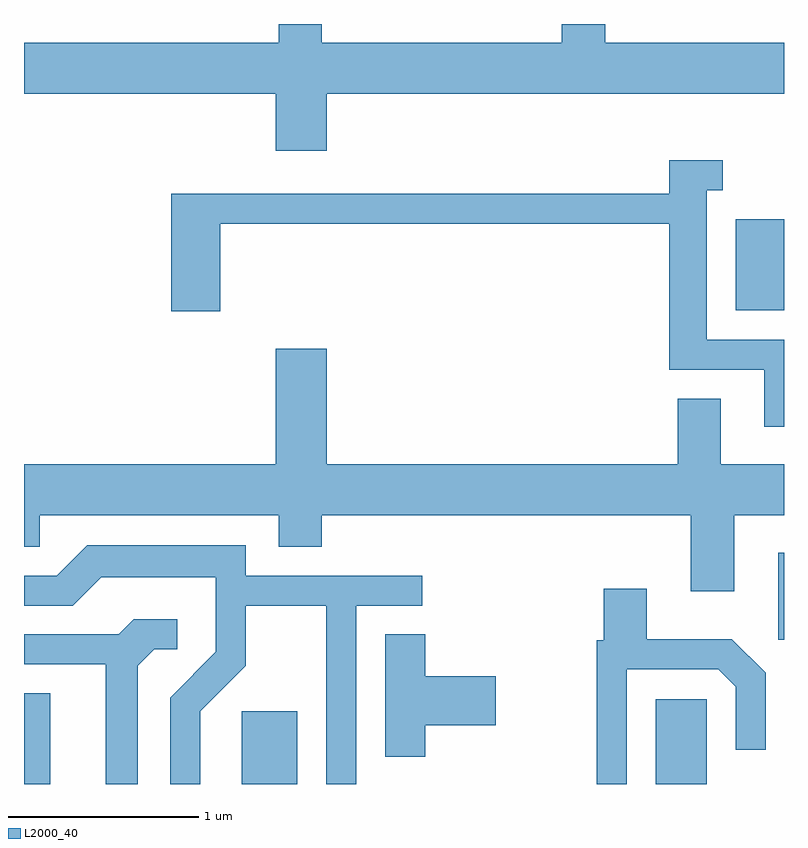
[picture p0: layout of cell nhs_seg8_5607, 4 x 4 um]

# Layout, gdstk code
import gdstk
lib = gdstk.Library(unit=1e-6, precision=1e-09)
def R(c, l, rs):  # rectangles x0, y0, x1, y1
    for r in rs: c.add(gdstk.rectangle(r[:2], r[2:], *l))
def P(c, l, *ps):  # polygons
    for p in ps: c.add(gdstk.Polygon(p, *l))
L2000_40 = (2000, 40)

nhs_seg8_5607 = lib.new_cell('nhs_seg8_5607')
R(nhs_seg8_5607, L2000_40, [(353.611,1828.342,353.749,1828.819), (354.756,1828.342,355.049,1828.724), (356.936,1828.342,357.204,1828.789), (357.581,1829.101,357.611,1829.559), (357.356,1830.836,357.611,1831.314)])
P(nhs_seg8_5607, L2000_40, [(355.204,1831.976),(357.611,1831.976),(357.611,1832.244),(356.669,1832.244),(356.669,1832.342),(356.441,1832.342),(356.441,1832.244),(355.179,1832.244),(355.179,1832.342),(354.951,1832.342),(354.951,1832.244),(353.611,1832.244),(353.611,1831.976),(354.936,1831.976),(354.936,1831.676),(355.204,1831.676)],
  [(357.611,1830.679),(357.204,1830.679),(357.204,1831.466),(357.288,1831.466),(357.288,1831.624),(357.006,1831.624),(357.006,1831.449),(354.386,1831.449),(354.386,1830.831),(354.644,1830.831),(354.644,1831.291),(357.006,1831.291),(357.006,1830.521),(357.506,1830.521),(357.506,1830.221),(357.611,1830.221)],
  [(357.349,1829.756),(357.611,1829.756),(357.611,1830.024),(357.279,1830.024),(357.279,1830.369),(357.051,1830.369),(357.051,1830.024),(355.204,1830.024),(355.204,1830.634),(354.936,1830.634),(354.936,1830.024),(353.611,1830.024),(353.611,1829.591),(353.694,1829.591),(353.694,1829.756),(354.951,1829.756),(354.951,1829.591),(355.179,1829.591),(355.179,1829.756),(357.121,1829.756),(357.121,1829.356),(357.349,1829.356)],
  [(354.539,1828.724),(354.779,1828.964),(354.779,1829.281),(355.201,1829.281),(355.201,1828.342),(355.359,1828.342),(355.359,1829.281),(355.708,1829.281),(355.708,1829.439),(354.779,1829.439),(354.779,1829.599),(353.944,1829.599),(353.784,1829.439),(353.611,1829.439),(353.611,1829.281),(353.867,1829.281),(354.017,1829.431),(354.621,1829.431),(354.621,1829.037),(354.381,1828.797),(354.381,1828.342),(354.539,1828.342)],
  [(356.784,1828.946),(357.264,1828.946),(357.356,1828.854),(357.356,1828.523),(357.514,1828.523),(357.514,1828.927),(357.337,1829.104),(356.889,1829.104),(356.889,1829.369),(356.661,1829.369),(356.661,1829.099),(356.626,1829.099),(356.626,1828.342),(356.784,1828.342)],
  [(354.209,1828.964),(354.297,1829.051),(354.418,1829.051),(354.418,1829.209),(354.189,1829.209),(354.109,1829.129),(353.611,1829.129),(353.611,1828.971),(354.041,1828.971),(354.041,1828.342),(354.209,1828.342)],
  [(355.724,1828.651),(356.094,1828.651),(356.094,1828.909),(355.724,1828.909),(355.724,1829.129),(355.511,1829.129),(355.511,1828.486),(355.724,1828.486)])

lib.write_gds('nhs_seg8_5607.gds')
